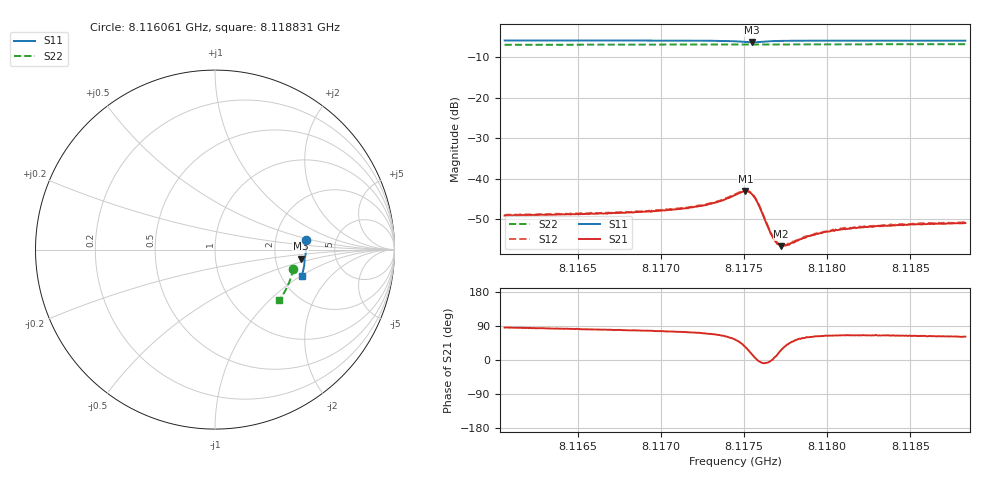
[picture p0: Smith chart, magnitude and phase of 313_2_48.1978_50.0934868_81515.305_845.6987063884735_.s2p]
#  HZ  S  RI  R  50.00
! Rohde & Schwarz Vector Network Analyzer
! Rohde-Schwarz,ZNB20-2Port,1311601062101988,3.16
! Created: UTC 3/20/2024, 11:50:04 AM
! freq[Hz]  re:S11  im:S11  re:S21  im:S21  re:S12  im:S12  re:S22  im:S22
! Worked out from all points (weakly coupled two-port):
!   401 points, 8.116061 GHz to 8.118831 GHz, reference 50 ohm
!   highest |S21| = -43.15 dB at 8.117508 GHz (marker M1); lowest = -56.7 dB at 8.117723 GHz (marker M2)
!   lowest |S11| = -6.4 dB at 8.11755 GHz (marker M3), VSWR 2.85, Z = 140 - j18.7 ohm
!   |S11| at or under -10 dB: nowhere
!   |S22| runs from -7.0 to -6.8 dB; largest |S21 - S12| = 0.00018
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8.116061e9  0.5046 0.0536  0.000265 0.00347  0.000324 0.00355  0.436 -0.1055
8.1165249e9  0.5064 0.0187  0.000564 0.00364  0.000602 0.00365  0.4285 -0.1368
8.1169889e9  0.5054 -0.0171  0.000952 0.00388  0.00101 0.00396  0.4188 -0.1677
8.1171482e9  0.5041 -0.0302  0.0012 0.00412  0.00126 0.00418  0.4149 -0.1783
8.1172521e9  0.5026 -0.0393  0.00151 0.00438  0.00159 0.00446  0.4124 -0.185
8.1173698e9  0.4986 -0.0506  0.00234 0.00482  0.00244 0.00489  0.4089 -0.1927
8.117446e9  0.4922 -0.0581  0.00367 0.00507  0.00381 0.00513  0.4064 -0.1975
8.1175083e9  0.4817 -0.0589  0.00574 0.00392  0.00587 0.00397  0.4046 -0.2012
8.1175291e9  0.4786 -0.0559  0.00622 0.00285  0.00638 0.00282  0.4038 -0.2022
8.1175498e9  0.4779 -0.0514  0.00616 0.00151  0.00631 0.00151  0.4034 -0.2034
8.1175845e9  0.4823 -0.0454  0.00488 -0.000153  0.00494 -0.000211  0.4025 -0.2051
8.1176468e9  0.493 -0.0477  0.00243 -0.00025  0.00248 -0.000256  0.4012 -0.2091
8.1176745e9  0.4955 -0.0509  0.00187 7.28e-05  0.00188 7.71e-05  0.4004 -0.211
8.1177022e9  0.4971 -0.0541  0.00149 0.000406  0.00154 0.000403  0.3997 -0.2127
8.117723e9  0.4979 -0.0566  0.00132 0.000635  0.00139 0.000641  0.3991 -0.2142
8.1177645e9  0.4989 -0.0613  0.00114 0.001  0.00122 0.001  0.3978 -0.2168
8.1178753e9  0.4988 -0.072  0.000932 0.00165  0.000986 0.00165  0.3944 -0.224
8.1179099e9  0.4986 -0.0752  0.000964 0.00174  0.000974 0.00176  0.3932 -0.2261
8.117993e9  0.4979 -0.0821  0.000952 0.002  0.000997 0.00196  0.3907 -0.2311
8.1180969e9  0.4966 -0.0906  0.00099 0.00215  0.00106 0.00221  0.387 -0.2377
8.1183739e9  0.4923 -0.1117  0.00111 0.00236  0.00117 0.00239  0.3772 -0.2545
8.118831e9  0.4832 -0.1451  0.00134 0.00249  0.00138 0.00255  0.3593 -0.2812
